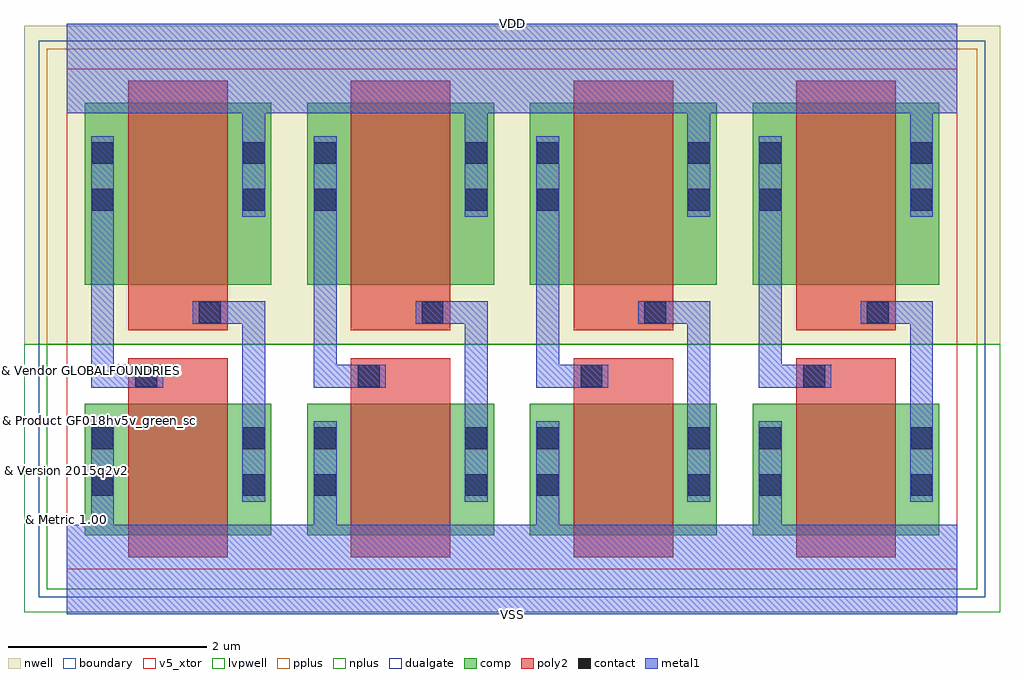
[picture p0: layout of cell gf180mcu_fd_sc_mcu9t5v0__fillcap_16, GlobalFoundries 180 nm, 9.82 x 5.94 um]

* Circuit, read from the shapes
.subckt gf180mcu_fd_sc_mcu9t5v0__fillcap_16 VDD VSS
XM1 n1 n2 VSS VSUBS nfet_05v0 w=1.32u l=1u
XM2 n3 n4 VSS VSUBS nfet_05v0 w=1.32u l=1u
XM3 n5 n6 VSS VSUBS nfet_05v0 w=1.32u l=1u
XM4 n7 n8 VSS VSUBS nfet_05v0 w=1.32u l=1u
XM5 VDD n1 n2 n9 pfet_05v0 w=1.83u l=1u
XM6 VDD n3 n4 n9 pfet_05v0 w=1.83u l=1u
XM7 VDD n5 n6 n9 pfet_05v0 w=1.83u l=1u
XM8 VDD n7 n8 n9 pfet_05v0 w=1.83u l=1u
.ends

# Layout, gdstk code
import gdstk
lib = gdstk.Library(unit=1e-6, precision=1e-09)
def R(c, l, rs):  # rectangles x0, y0, x1, y1
    for r in rs: c.add(gdstk.rectangle(r[:2], r[2:], *l))
def A(c, l, x, y, w, h, nx, ny, dx, dy):  # array of equal rectangles
    R(c, l, [(x+i*dx, y+j*dy, x+i*dx+w, y+j*dy+h) for i in range(nx) for j in range(ny)])
def P(c, l, *ps):  # polygons
    for p in ps: c.add(gdstk.Polygon(p, *l))
boundary = (0, 0)
nwell = (21, 0)
comp = (22, 0)
poly2 = (30, 0)
pplus = (31, 0)
nplus = (32, 0)
contact = (33, 0)
metal1 = (34, 0)
dualgate = (55, 0)
v5_xtor = (112, 1)
lvpwell = (204, 0)

gf180mcu_fd_sc_mcu9t5v0_ = lib.new_cell('gf180mcu_fd_sc_mcu9t5v0__fillcap_16')
R(gf180mcu_fd_sc_mcu9t5v0_, boundary, [(0,0,8.96,5.04)])
R(gf180mcu_fd_sc_mcu9t5v0_, nwell, [(-0.43,2.265,9.39,5.47)])
A(gf180mcu_fd_sc_mcu9t5v0_, comp, 0.18, 0.345, 1.88, 1.32, 4, 1, 2.24, 0)
A(gf180mcu_fd_sc_mcu9t5v0_, comp, 0.18, 2.865, 1.88, 1.83, 4, 1, 2.24, 0)
A(gf180mcu_fd_sc_mcu9t5v0_, poly2, 0.62, 0.125, 1, 2, 4, 1, 2.24, 0)
A(gf180mcu_fd_sc_mcu9t5v0_, poly2, 0.62, 2.405, 1, 2.51, 4, 1, 2.24, 0)
R(gf180mcu_fd_sc_mcu9t5v0_, pplus, [(-0.2,2.265,9.16,5.24)])
R(gf180mcu_fd_sc_mcu9t5v0_, nplus, [(-0.2,-0.2,9.16,2.265)])
A(gf180mcu_fd_sc_mcu9t5v0_, contact, 0.69, 1.835, 0.22, 0.22, 4, 1, 2.24, 0)
A(gf180mcu_fd_sc_mcu9t5v0_, contact, 1.33, 2.475, 0.22, 0.22, 4, 1, 2.24, 0)
R(gf180mcu_fd_sc_mcu9t5v0_, contact, [(0.25,0.74,0.47,0.96), (1.77,0.74,1.99,0.96), (2.49,0.74,2.71,0.96), (4.01,0.74,4.23,0.96), (4.73,0.74,4.95,0.96), (6.25,0.74,6.47,0.96), (6.97,0.74,7.19,0.96), (8.49,0.74,8.71,0.96), (0.25,1.21,0.47,1.43), (1.77,1.21,1.99,1.43), (2.49,1.21,2.71,1.43), (4.01,1.21,4.23,1.43), (4.73,1.21,4.95,1.43), (6.25,1.21,6.47,1.43), (6.97,1.21,7.19,1.43), (8.49,1.21,8.71,1.43), (0.25,3.61,0.47,3.83), (1.77,3.61,1.99,3.83), (2.49,3.61,2.71,3.83), (4.01,3.61,4.23,3.83), (4.73,3.61,4.95,3.83), (6.25,3.61,6.47,3.83), (6.97,3.61,7.19,3.83), (8.49,3.61,8.71,3.83), (0.25,4.08,0.47,4.3), (1.77,4.08,1.99,4.3), (2.49,4.08,2.71,4.3), (4.01,4.08,4.23,4.3), (4.73,4.08,4.95,4.3), (6.25,4.08,6.47,4.3), (6.97,4.08,7.19,4.3), (8.49,4.08,8.71,4.3)])
P(gf180mcu_fd_sc_mcu9t5v0_, metal1, [(0.245,1.83),(0.245,4.36),(0.475,4.36),(0.475,2.06),(0.97,2.06),(0.97,1.83)],
  [(1.765,0.68),(1.765,2.47),(1.27,2.47),(1.27,2.7),(1.995,2.7),(1.995,0.68)],
  [(2.485,1.83),(2.485,4.36),(2.715,4.36),(2.715,2.06),(3.21,2.06),(3.21,1.83)],
  [(4.005,0.68),(4.005,2.47),(3.51,2.47),(3.51,2.7),(4.235,2.7),(4.235,0.68)],
  [(4.725,1.83),(4.725,4.36),(4.955,4.36),(4.955,2.06),(5.45,2.06),(5.45,1.83)],
  [(6.245,0.68),(6.245,2.47),(5.75,2.47),(5.75,2.7),(6.475,2.7),(6.475,0.68)],
  [(6.965,1.83),(6.965,4.36),(7.195,4.36),(7.195,2.06),(7.69,2.06),(7.69,1.83)],
  [(8.485,0.68),(8.485,2.47),(7.99,2.47),(7.99,2.7),(8.715,2.7),(8.715,0.68)],
  [(0,-0.45),(0,0.45),(0.245,0.45),(0.245,1.49),(0.475,1.49),(0.475,0.45),(2.485,0.45),(2.485,1.49),(2.715,1.49),(2.715,0.45),(4.725,0.45),(4.725,1.49),(4.955,1.49),(4.955,0.45),(6.965,0.45),(6.965,1.49),(7.195,1.49),(7.195,0.45),(8.96,0.45),(8.96,-0.45)],
  [(1.765,3.55),(1.765,4.59),(0,4.59),(0,5.49),(8.96,5.49),(8.96,4.59),(8.715,4.59),(8.715,3.55),(8.485,3.55),(8.485,4.59),(6.475,4.59),(6.475,3.55),(6.245,3.55),(6.245,4.59),(4.235,4.59),(4.235,3.55),(4.005,3.55),(4.005,4.59),(1.995,4.59),(1.995,3.55)])
R(gf180mcu_fd_sc_mcu9t5v0_, dualgate, [(-0.28,-0.28,9.24,5.32)])
R(gf180mcu_fd_sc_mcu9t5v0_, v5_xtor, [(0,0,8.96,5.04)])
R(gf180mcu_fd_sc_mcu9t5v0_, lvpwell, [(-0.43,-0.43,9.39,2.265)])
gf180mcu_fd_sc_mcu9t5v0_.add(gdstk.Label('VDD', (4.48,5.49), layer=34, texttype=10))
gf180mcu_fd_sc_mcu9t5v0_.add(gdstk.Label('VSS', (4.48,-0.45), layer=34, texttype=10))
gf180mcu_fd_sc_mcu9t5v0_.add(gdstk.Label('& Vendor GLOBALFOUNDRIES', (0,2), layer=63, texttype=63))
gf180mcu_fd_sc_mcu9t5v0_.add(gdstk.Label('& Product GF018hv5v_green_sc9', (0,1.5), layer=63, texttype=63))
gf180mcu_fd_sc_mcu9t5v0_.add(gdstk.Label('& Version 2015q2v2', (0,1), layer=63, texttype=63))
gf180mcu_fd_sc_mcu9t5v0_.add(gdstk.Label('& Metric 1.00', (0,0.5), layer=63, texttype=63))

lib.write_gds('gf180mcu_fd_sc_mcu9t5v0__fillcap_16.gds')
